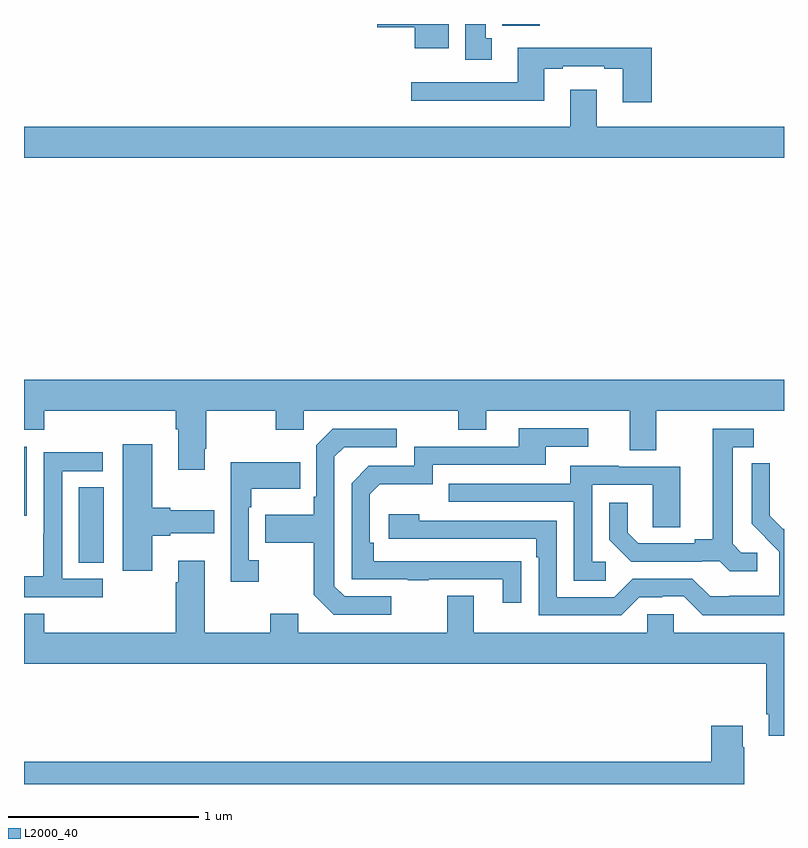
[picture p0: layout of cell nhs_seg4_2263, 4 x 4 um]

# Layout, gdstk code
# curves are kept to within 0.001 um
import gdstk
lib = gdstk.Library(unit=1e-6, precision=1e-09)
def R(c, l, rs):  # rectangles x0, y0, x1, y1
    for r in rs: c.add(gdstk.rectangle(r[:2], r[2:], *l))
def P(c, l, *ps):  # polygons
    for p in ps: c.add(gdstk.Polygon(p, *l))
L2000_40 = (2000, 40)

nhs_seg4_2263 = lib.new_cell('nhs_seg4_2263')
R(nhs_seg4_2263, L2000_40, [(229.289,752.065,229.42,752.462), (229,752.313,229.015,752.674), (231.518,754.892,231.715,754.9)])
P(nhs_seg4_2263, L2000_40, [(231.235,754.9),(230.858,754.9),(230.858,754.883),(231.056,754.883),(231.056,754.772),(231.235,754.772)],
  [(231.463,754.826),(231.43,754.826),(231.43,754.9),(231.323,754.9),(231.323,754.713),(231.463,754.713)],
  [(232.304,754.774),(231.599,754.774),(231.599,754.593),(231.039,754.593),(231.039,754.496),(231.739,754.496),(231.739,754.665),(231.835,754.665),(231.835,754.677),(232.055,754.677),(232.055,754.665),(232.151,754.665),(232.151,754.488),(232.304,754.488)],
  [(233,754.36),(232.015,754.36),(232.015,754.555),(231.875,754.555),(231.875,754.36),(229,754.36),(229,754.196),(233,754.196)],
  [(229.951,752.665),(229.959,752.665),(229.959,752.864),(230.326,752.864),(230.326,752.765),(230.472,752.765),(230.472,752.864),(231.286,752.864),(231.286,752.765),(231.433,752.765),(231.433,752.864),(232.187,752.864),(232.187,752.656),(232.327,752.656),(232.327,752.864),(233,752.864),(233,753.028),(229,753.028),(229,752.765),(229.106,752.765),(229.106,752.864),(229.799,752.864),(229.799,752.768),(229.811,752.768),(229.811,752.553),(229.951,752.553)],
  [(231.617,752.072),(230.84,752.073),(230.84,752.17),(230.82,752.17),(230.82,752.424),(230.873,752.477),(231.15,752.477),(231.15,752.58),(231.745,752.58),(231.745,752.676),(231.97,752.676),(231.97,752.772),(231.605,752.772),(231.605,752.676),(231.054,752.676),(231.054,752.574),(230.814,752.574),(230.724,752.484),(230.724,751.977),(231.019,751.977),(231.019,751.972),(231.131,751.972),(231.131,751.977),(231.521,751.977),(231.521,751.854),(231.617,751.854)],
  [(230.932,751.887),(230.688,751.887),(230.634,751.941),(230.634,752.622),(230.685,752.673),(230.962,752.673),(230.962,752.769),(230.625,752.769),(230.538,752.682),(230.538,752.413),(230.526,752.413),(230.526,752.317),(230.269,752.317),(230.269,752.17),(230.526,752.17),(230.526,751.897),(230.631,751.791),(230.932,751.791)],
  [(232.858,752.118),(232.776,752.118),(232.729,752.165),(232.729,752.673),(232.84,752.673),(232.84,752.769),(232.625,752.769),(232.625,752.189),(232.529,752.189),(232.529,752.166),(232.234,752.166),(232.177,752.223),(232.177,752.38),(232.08,752.38),(232.08,752.186),(232.196,752.07),(232.568,752.07),(232.568,752.073),(232.662,752.073),(232.714,752.021),(232.858,752.021)],
  [(229.675,752.207),(229.771,752.207),(229.771,752.219),(230.002,752.219),(230.002,752.341),(229.771,752.341),(229.771,752.354),(229.675,752.354),(229.675,752.689),(229.52,752.689),(229.52,752.022),(229.675,752.022)],
  [(229.414,751.98),(229.2,751.98),(229.2,752.547),(229.414,752.547),(229.414,752.646),(229.104,752.646),(229.104,752.216),(229.102,752.216),(229.102,751.993),(229,751.993),(229,751.884),(229.414,751.884)],
  [(230.236,752.078),(230.184,752.078),(230.184,752.357),(230.197,752.357),(230.197,752.453),(230.453,752.453),(230.453,752.593),(230.088,752.593),(230.088,751.965),(230.236,751.965)],
  [(233,752.242),(232.998,752.244),(232.995,752.241),(232.925,752.312),(232.926,752.588),(232.83,752.588),(232.83,752.27),(232.976,752.122),(232.976,752.025),(232.974,752.025),(232.974,751.891),(232.711,751.891),(232.711,751.887),(232.611,751.887),(232.518,751.98),(232.203,751.98),(232.107,751.884),(231.804,751.884),(231.804,752.286),(231.08,752.286),(231.08,752.32),(230.919,752.32),(230.919,752.19),(231.695,752.19),(231.695,752.093),(231.708,752.093),(231.708,751.788),(232.143,751.788),(232.239,751.884),(232.358,751.884),(232.358,751.887),(232.473,751.887),(232.573,751.787),(233,751.787)],
  [(232.063,752.07),(231.99,752.07),(231.99,752.475),(232.308,752.475),(232.308,752.251),(232.453,752.251),(232.453,752.571),(232.129,752.571),(232.129,752.575),(231.875,752.575),(231.875,752.481),(231.235,752.481),(231.235,752.385),(231.894,752.385),(231.894,751.969),(232.063,751.969)],
  [(233,751.696),(232.419,751.696),(232.419,751.794),(232.281,751.794),(232.281,751.696),(231.367,751.696),(231.367,751.891),(231.227,751.891),(231.227,751.696),(230.443,751.696),(230.443,751.795),(230.296,751.795),(230.296,751.696),(229.951,751.696),(229.951,752.074),(229.811,752.074),(229.811,751.961),(229.799,751.961),(229.799,751.696),(229.106,751.696),(229.106,751.795),(229,751.795),(229,751.532),(232.907,751.532),(232.907,751.267),(232.919,751.267),(232.919,751.155),(233,751.155)],
  [(232.791,751.094),(232.783,751.094),(232.783,751.207),(232.616,751.207),(232.616,751.016),(229,751.016),(229,750.9),(232.791,750.9)])

lib.write_gds('nhs_seg4_2263.gds')
